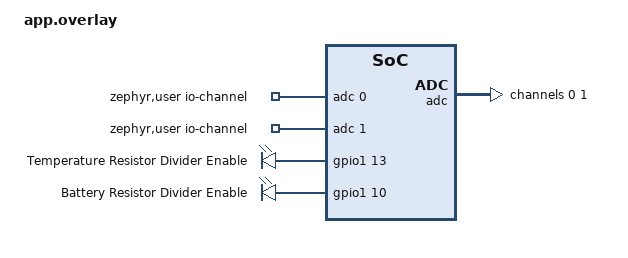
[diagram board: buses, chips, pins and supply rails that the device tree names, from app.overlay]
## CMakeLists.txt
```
cmake_minimum_required(VERSION 3.20.0)

# Add the app overlay file before including the zephyr package
list(APPEND DTC_OVERLAY_FILE app.overlay)

find_package(Zephyr REQUIRED HINTS $ENV{ZEPHYR_BASE})

project(lionk-nrf-temperature)

target_sources(app PRIVATE src/main.c src/ble.c src/lionk_adc.c)
```

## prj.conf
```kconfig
CONFIG_ASSERT=y

CONFIG_GPIO=y
CONFIG_HWINFO=y
CONFIG_ADC=y

CONFIG_LOG=n
CONFIG_SERIAL=n
CONFIG_CONSOLE=n
CONFIG_UART_ASYNC_API=n
CONFIG_LOG_BACKEND_UART=n
CONFIG_UART_CONSOLE=n
CONFIG_USE_SEGGER_RTT=n
CONFIG_NRFX_UARTE1=n

CONFIG_BT=y
CONFIG_BT_SMP=y
CONFIG_BT_SIGNING=y
CONFIG_BT_PERIPHERAL=y
CONFIG_BT_ATT_PREPARE_COUNT=5
CONFIG_BT_BAS=y
CONFIG_BT_PRIVACY=y
CONFIG_BT_DEVICE_APPEARANCE=833
CONFIG_BT_DEVICE_NAME="Lionk-Temp %llx"
CONFIG_BT_DEVICE_NAME_DYNAMIC=y
CONFIG_BT_DEVICE_NAME_MAX=65
CONFIG_BT_KEYS_OVERWRITE_OLDEST=y
CONFIG_BT_SETTINGS=y
CONFIG_SETTINGS=y

# Bluetooth Connection Parameters
CONFIG_BT_PERIPHERAL_PREF_MIN_INT=300
CONFIG_BT_PERIPHERAL_PREF_MAX_INT=320
CONFIG_BT_PERIPHERAL_PREF_LATENCY=5
CONFIG_BT_PERIPHERAL_PREF_TIMEOUT=500 
CONFIG_BT_GAP_AUTO_UPDATE_CONN_PARAMS=y

CONFIG_BT_USER_PHY_UPDATE=y

CONFIG_BT_CTLR_PHY_CODED=y

CONFIG_BT_USER_DATA_LEN_UPDATE=y
CONFIG_BT_CTLR_DATA_LENGTH_MAX=251
CONFIG_BT_BUF_ACL_RX_SIZE=502
CONFIG_BT_BUF_ACL_TX_SIZE=251
CONFIG_BT_L2CAP_TX_MTU=498

CONFIG_BT_GATT_CLIENT=y

CONFIG_BOOTLOADER_MCUBOOT=n
CONFIG_NCS_SAMPLE_MCUMGR_BT_OTA_DFU=n

# Power Management
CONFIG_PM_DEVICE=y
CONFIG_PM_DEVICE_RUNTIME=y
CONFIG_NRF_APPROTECT_LOCK=y

CONFIG_BOARD_ENABLE_DCDC=y

CONFIG_USB_DEVICE_STACK=n
CONFIG_USB_CDC_ACM=n
CONFIG_UART_CONSOLE=n
```

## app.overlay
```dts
/ {
	zephyr,user {
		io-channels = <&adc 0>, <&adc 1>;
	};

	aliases {
		resistordiven0 = &temp_resistor_div_en;
		resistordiven1 = &battery_resistor_div_en;
	};

	gpio_pins {
		compatible = "gpio-leds";
		temp_resistor_div_en: temp_resistor_div_en {
			gpios = <&gpio1 13 GPIO_ACTIVE_HIGH>;
			label = "Temperature Resistor Divider Enable";
		};
		battery_resistor_div_en: battery_resistor_div_en {
			gpios = <&gpio1 10 GPIO_ACTIVE_HIGH>;
			label = "Battery Resistor Divider Enable";
		};
	};
};

&adc {
	#address-cells = <1>;
	#size-cells = <0>;

	status = "okay";

	channel@0 {
		reg = <0>;
		zephyr,gain = "ADC_GAIN_1_6";
		zephyr,reference = "ADC_REF_INTERNAL";
		zephyr,acquisition-time = <ADC_ACQ_TIME_DEFAULT>;
		zephyr,input-positive = <NRF_SAADC_AIN5>; /* P0.29 */
		zephyr,resolution = <12>;
	};

	channel@1 {
		reg = <1>;
		zephyr,gain = "ADC_GAIN_1_6";
		zephyr,reference = "ADC_REF_INTERNAL";
		zephyr,acquisition-time = <ADC_ACQ_TIME_DEFAULT>;
		zephyr,input-positive = <NRF_SAADC_AIN7>; /* P0.31 */
		zephyr,resolution = <12>;
	};
};
```

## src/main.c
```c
#include "lionk_adc.h"
#include "sensor.h"
#include <stdint.h>
#include <zephyr/kernel.h>
#include <zephyr/drivers/gpio.h>
#include <zephyr/logging/log.h>
#include <zephyr/drivers/adc.h>

#include "ble.h"

LOG_MODULE_REGISTER(main, LOG_LEVEL_INF);

static void do_work(struct k_work *work);
static void timer_handler(struct k_timer *timer);
static void update_data(void);

K_WORK_DEFINE(update_data_work, do_work);
K_TIMER_DEFINE(work_timer, timer_handler, NULL);

sensor_data_t sensor_data;
static sensor_state_t state = DISCONNECTED;

static const struct gpio_dt_spec temp_resistor_div_en =
	GPIO_DT_SPEC_GET(DT_ALIAS(resistordiven0), gpios);
static const struct gpio_dt_spec battery_resistor_div_en =
	GPIO_DT_SPEC_GET(DT_ALIAS(resistordiven1), gpios);

static const struct adc_dt_spec temperature_spec =
	ADC_DT_SPEC_GET_BY_IDX(DT_PATH(zephyr_user), 0);

static const struct adc_dt_spec battery_spec =
	ADC_DT_SPEC_GET_BY_IDX(DT_PATH(zephyr_user), 1);

/**
 * @brief Updates sensor data by reading temperature and battery values
 * 
 * This function enables the resistor dividers, waits for voltage stabilization,
 * reads ADC values for temperature and battery, then disables the resistor
 * dividers to save power. The raw ADC values are converted to meaningful units.
 */
void update_data(void)
{
	gpio_pin_set_dt(&temp_resistor_div_en, 1);
	gpio_pin_set_dt(&battery_resistor_div_en, 0);

	k_msleep(10);

	uint16_t temp_read_mv = lionk_adc_do_read(&temperature_spec);
	uint16_t battery_read = lionk_adc_do_read(&battery_spec);

	gpio_pin_set_dt(&temp_resistor_div_en, 0);
	gpio_pin_set_dt(&battery_resistor_div_en, 1);

	sensor_data.temperature = temp_read_mv - 500;
	sensor_data.battery_mv = battery_read * 4;
}

/**
 * @brief Main work function that handles sensor updates and BLE state management
 * 
 * This function is called periodically by the timer. It updates sensor data,
 * logs the values, and manages the BLE connection state machine (disconnected,
 * advertising, connected). When connected and subscribed, it sends sensor data.
 * 
 * @param work Pointer to the work structure (unused)
 */
void do_work(struct k_work *work)
{
	(void)work;
	update_data();
	LOG_INF("Temperature: %d, battery %d", sensor_data.temperature,
		sensor_data.battery_mv);
	switch (state) {
	case DISCONNECTED:
		ble_start_advertising();
		state = ADVERTISING;
		LOG_INF("Advertising");
		break;

	case ADVERTISING:
		if (ble_is_connected()) {
			state = CONNECTED;
			LOG_INF("Connected!");
		}
		break;
	case CONNECTED:
		if (!ble_is_connected()) {
			LOG_INF("Disconnected");
			state = DISCONNECTED;
		}

		if (ble_is_subscribed()) {
			const int ret = ble_send_data();
			if (ret) {
				LOG_ERR("Couldn't send data (%d)", ret);
			}
		}
		break;
	}
}

/**
 * @brief Timer callback function that submits work to the system work queue
 * 
 * This function is called every second by the timer and submits the sensor
 * update work to be processed by the system work queue.
 * 
 * @param timer Pointer to the timer structure (unused)
 */
void timer_handler(struct k_timer *timer)
{
	k_work_submit(&update_data_work);
}

/**
 * @brief Configures flash protection settings for the nRF device
 * 
 * This function enables or disables flash protection (APPROTECT) based on the
 * ENABLE_APPROTECT configuration. It modifies the UICR (User Information 
 * Configuration Registers) and performs a system reset if changes are made.
 * This protects the flash memory from unauthorized access.
 */
static void nrf_bootloader_debug_port_disable(void)
{
#ifdef ENABLE_APPROTECT
	if ((NRF_UICR->APPROTECT & UICR_APPROTECT_PALL_Msk) !=
	    (UICR_APPROTECT_PALL_Enabled << UICR_APPROTECT_PALL_Pos)) {
		LOG_INF("Flash Protection not enabled. Enabling and resetting the device");
		NRF_NVMC->CONFIG = NVMC_CONFIG_WEN_Wen;
		while (NRF_NVMC->READY == NVMC_READY_READY_Busy)
			;
		NRF_UICR->APPROTECT = ((NRF_UICR->APPROTECT &
					~((uint32_t)UICR_APPROTECT_PALL_Msk)) |
				       (UICR_APPROTECT_PALL_Enabled
					<< UICR_APPROTECT_PALL_Pos));

		NRF_NVMC->CONFIG = NVMC_CONFIG_WEN_Ren;
		while (NRF_NVMC->READY == NVMC_READY_READY_Busy)
			;
		NVIC_SystemReset();
	}
#else
	if ((NRF_UICR->APPROTECT & UICR_APPROTECT_PALL_Msk) !=
	    (UICR_APPROTECT_PALL_HwDisabled << UICR_APPROTECT_PALL_Pos)) {
		NRF_NVMC->CONFIG = NVMC_CONFIG_WEN_Wen;
		while (NRF_NVMC->READY == NVMC_READY_READY_Busy)
			;

		NRF_UICR->APPROTECT = ((NRF_UICR->APPROTECT &
					~((uint32_t)UICR_APPROTECT_PALL_Msk)) |
				       (UICR_APPROTECT_PALL_HwDisabled
					<< UICR_APPROTECT_PALL_Pos));

		NRF_NVMC->CONFIG = NVMC_CONFIG_WEN_Ren;
		while (NRF_NVMC->READY == NVMC_READY_READY_Busy)
			;
	}
#endif
}

/**
 * @brief Main application entry point
 * 
 * This function initializes the system by:
 * - Configuring flash protection settings
 * - Setting up GPIO pins for resistor divider control
 * - Initializing BLE functionality
 * - Configuring ADC channels for temperature and battery monitoring
 * - Starting a periodic timer for sensor updates
 * - Entering an infinite sleep state (work is handled by interrupts)
 * 
 * @return Should never return; exits with error code if initialization fails
 */
int main(void)
{
	int ret;

	nrf_bootloader_debug_port_disable();

	if (!gpio_is_ready_dt(&temp_resistor_div_en)) {
		LOG_ERR("GPIO device %s is not ready",
			temp_resistor_div_en.port->name);
		return -1;
	}
	if (!gpio_is_ready_dt(&battery_resistor_div_en)) {
		LOG_ERR("GPIO device %s is not ready",
			battery_resistor_div_en.port->name);
		return -1;
	}

	ret = gpio_pin_configure_dt(&temp_resistor_div_en,
				    GPIO_OUTPUT_INACTIVE);
	if (ret < 0) {
		LOG_ERR("Cannot configure GPIO pin for temperature resistor divider");
		return -1;
	}

	ret = gpio_pin_configure_dt(&battery_resistor_div_en,
				    GPIO_OUTPUT_INACTIVE);
	if (ret < 0) {
		LOG_ERR("Cannot configure GPIO pin for battery resistor divider");
		return -1;
	}

	LOG_INF("GPIO pins configured for resistor divider control");

	ble_setup();
	lionk_adc_setup(&temperature_spec);
	lionk_adc_setup(&battery_spec);
	k_timer_start(&work_timer, K_SECONDS(1), K_SECONDS(1));
	k_sleep(K_FOREVER);
}
```

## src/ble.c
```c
#include "ble.h"
#include "sensor.h"
#include <zephyr/bluetooth/bluetooth.h>
#include <zephyr/bluetooth/gap.h>
#include <zephyr/bluetooth/hci.h>
#include <zephyr/bluetooth/conn.h>
#include <zephyr/bluetooth/uuid.h>
#include <zephyr/bluetooth/gatt.h>
#include <zephyr/bluetooth/services/bas.h>
#include <zephyr/logging/log.h>
#include <zephyr/drivers/hwinfo.h>
#include <zephyr/settings/settings.h>
#include "version.h"

LOG_MODULE_REGISTER(ble, LOG_LEVEL_INF);

static bool subscribed = false;

static ssize_t read_version(struct bt_conn *conn,
			    const struct bt_gatt_attr *attr, void *buf,
			    uint16_t len, uint16_t offset);

static ssize_t read_attribute(struct bt_conn *conn,
			      const struct bt_gatt_attr *attr, void *buf,
			      uint16_t len, uint16_t offset);

static void notification_ccc_changed(const struct bt_gatt_attr *attr,
				     uint16_t value);

static char device_name[CONFIG_BT_DEVICE_NAME_MAX];

static const struct bt_data ad[] = {
	BT_DATA_BYTES(BT_DATA_FLAGS, (BT_LE_AD_GENERAL | BT_LE_AD_NO_BREDR)),
	BT_DATA(BT_DATA_NAME_COMPLETE, device_name, sizeof(device_name))
};
static struct bt_le_adv_param *adv_param = BT_LE_ADV_PARAM(
	(BT_LE_ADV_OPT_CONNECTABLE | BT_LE_ADV_OPT_USE_IDENTITY), 800, 16384,
	NULL);

static struct bt_conn *current_connection = NULL;
static struct bt_gatt_exchange_params exchange_params;

BT_GATT_SERVICE_DEFINE(battery_svc,
		       BT_GATT_PRIMARY_SERVICE(BT_UUID_BATTERY_SVC),
		       BT_GATT_CHARACTERISTIC(BT_UUID_BATTERY,
					      BT_GATT_CHRC_READ,
					      BT_GATT_PERM_READ, read_attribute,
					      NULL, &sensor_data.battery_mv));

BT_GATT_SERVICE_DEFINE(temperature_svc,
		       BT_GATT_PRIMARY_SERVICE(BT_UUID_TEMPERATURE_SVC),
		       BT_GATT_CHARACTERISTIC(BT_UUID_TEMPERATURE,
					      BT_GATT_CHRC_READ,
					      BT_GATT_PERM_READ, read_attribute,
					      NULL, &sensor_data.temperature));

BT_GATT_SERVICE_DEFINE(data_svc, BT_GATT_PRIMARY_SERVICE(BT_UUID_DATA_SVC),
		       BT_GATT_CHARACTERISTIC(BT_UUID_DATA, BT_GATT_CHRC_NOTIFY,
					      BT_GATT_PERM_NONE, NULL, NULL,
					      NULL),
		       BT_GATT_CCC(notification_ccc_changed,
				   BT_GATT_PERM_READ | BT_GATT_PERM_WRITE), );

BT_GATT_SERVICE_DEFINE(
	version_svc, BT_GATT_PRIMARY_SERVICE(BT_UUID_VERSION_SVC),
	BT_GATT_CHARACTERISTIC(BT_UUID_VERSION, BT_GATT_CHRC_READ,
			       BT_GATT_PERM_READ, read_version, NULL, NULL));

typedef union {
	uint64_t id;
	uint8_t buffer[sizeof(uint64_t)];
} id_union_t;

/**
 * @brief Reads the firmware version string for BLE GATT characteristic
 * 
 * This function is called when a BLE client reads the version characteristic.
 * It returns the firmware version string defined in version.h.
 * 
 * @param conn BLE connection handle
 * @param attr GATT attribute being read
 * @param buf Buffer to store the response
 * @param len Maximum length of the response
 * @param offset Offset for partial reads
 * @return Number of bytes written to the buffer
 */
static ssize_t read_version(struct bt_conn *conn,
			    const struct bt_gatt_attr *attr, void *buf,
			    uint16_t len, uint16_t offset)
{
	return bt_gatt_attr_read(conn, attr, buf, len, offset, VERSION,
				 strlen(VERSION));
}

/**
 * @brief Reads sensor data attributes for BLE GATT characteristics
 * 
 * This function is called when a BLE client reads temperature or battery
 * characteristics. It returns the current sensor values from the global
 * sensor_data structure.
 * 
 * @param conn BLE connection handle
 * @param attr GATT attribute being read
 * @param buf Buffer to store the response
 * @param len Maximum length of the response
 * @param offset Offset for partial reads
 * @return Number of bytes written to the buffer
 */
static ssize_t read_attribute(struct bt_conn *conn,
			      const struct bt_gatt_attr *attr, void *buf,
			      uint16_t len, uint16_t offset)
{
	const uint16_t *value = (uint16_t *)attr->user_data;

	return bt_gatt_attr_read(conn, attr, buf, len, offset, value,
				 sizeof(*value));
}

/**
 * @brief Handles changes to the Client Characteristic Configuration (CCC)
 * 
 * This callback is triggered when a BLE client enables or disables notifications
 * for the data characteristic. It updates the global subscription state.
 * 
 * @param attr GATT attribute that was modified
 * @param value New CCC value (BT_GATT_CCC_NOTIFY if notifications enabled)
 */
static void notification_ccc_changed(const struct bt_gatt_attr *attr,
				     uint16_t value)
{
	subscribed = value == BT_GATT_CCC_NOTIFY;
	LOG_INF("Notifications %s", subscribed ? "enabled" : "disabled");
}

/**
 * @brief Updates the BLE PHY (Physical Layer) to coded PHY for extended range
 * 
 * This function requests a change to the BLE connection's PHY to use coded PHY,
 * which provides better range at the cost of data rate. This is useful for
 * IoT applications requiring extended communication distance.
 * 
 * @param conn BLE connection handle to update
 */
static void update_phy(struct bt_conn *conn)
{
	int err;
	const struct bt_conn_le_phy_param phy = {
		.options = BT_CONN_LE_PHY_OPT_NONE,
		.pref_rx_phy = BT_GAP_LE_PHY_CODED,
		.pref_tx_phy = BT_GAP_LE_PHY_CODED,
	};
	err = bt_conn_le_phy_update(conn, &phy);
	if (err) {
		LOG_ERR("Couldn't set phy settings (err %d)", err);
	}
}

/**
 * @brief Updates the BLE data length extension parameters
 * 
 * This function sets the maximum data length extension parameters to allow
 * larger packet sizes, which can improve throughput efficiency by reducing
 * the overhead of multiple small packets.
 * 
 * @param conn BLE connection handle to update
 */
static void update_data_length(struct bt_conn *conn)
{
	int err;
	struct bt_conn_le_data_len_param my_data_len = {
		.tx_max_len = BT_GAP_DATA_LEN_MAX,
		.tx_max_time = BT_GAP_DATA_TIME_MAX,
	};
	err = bt_conn_le_data_len_update(conn, &my_data_len);
	if (err) {
		LOG_ERR("data_len_update failed (err %d)", err);
	}
}

/**
 * @brief Callback function for MTU exchange completion
 * 
 * This function is called when the MTU (Maximum Transmission Unit) exchange
 * procedure completes. It logs the result and the new MTU size if successful.
 * 
 * @param conn BLE connection handle
 * @param att_err ATT error code (0 if successful)
 * @param params Exchange parameters structure
 */
static void exchange_func(struct bt_conn *conn, uint8_t att_err,
			  struct bt_gatt_exchange_params *params)
{
	LOG_INF("MTU exchange %s", att_err == 0 ? "successful" : "failed");
	if (!att_err) {
		uint16_t payload_mtu = bt_gatt_get_mtu(conn) -
				       3; // 3 bytes used for Attribute headers.
		LOG_INF("New MTU: %d bytes", payload_mtu);
	}
}

/**
 * @brief Initiates MTU exchange procedure with the connected device
 * 
 * This function starts the MTU exchange to negotiate the largest possible
 * packet size that both devices can support, which helps optimize data
 * transmission efficiency.
 * 
 * @param conn BLE connection handle
 */
static void update_mtu(struct bt_conn *conn)
{
	int err;
	exchange_params.func = exchange_func;

	err = bt_gatt_exchange_mtu(conn, &exchange_params);
	if (err) {
		LOG_ERR("bt_gatt_exchange_mtu failed (err %d)", err);
	}
}

/**
 * @brief Callback function called when a BLE connection is established
 * 
 * This function is invoked when a BLE central device successfully connects
 * to this peripheral. It logs connection details, stores the connection
 * reference, and initiates optimization procedures (PHY update, data length
 * extension, and MTU exchange) for better performance.
 * 
 * @param conn BLE connection handle
 * @param err Error code (0 if connection successful)
 */
static void connected(struct bt_conn *conn, uint8_t err)
{
	if (err) {
		LOG_ERR("Connection failed (err 0x%02x)", err);
		return;
	}
	char addr[BT_ADDR_LE_STR_LEN];
	struct bt_conn_info info;
	bt_conn_get_info(conn, &info);
	current_connection = bt_conn_ref(conn);
	bt_addr_le_to_str(bt_conn_get_dst(conn), addr, sizeof(addr));
	double connection_interval = info.le.interval * 1.25;
	uint16_t supervision_timeout = info.le.timeout * 10;

	LOG_INF("Connected to %s, interval %.2f ms, latency %d intervals, timeout %d ms",
		addr, connection_interval, info.le.latency,
		supervision_timeout);

	update_phy(conn);
	update_data_length(conn);
	update_mtu(conn);
}

/**
 * @brief Callback function called when a BLE connection is terminated
 * 
 * This function is invoked when the BLE connection is disconnected, either
 * by the central device or due to connection timeout/error. It cleans up
 * the connection reference and logs the disconnection reason.
 * 
 * @param conn BLE connection handle that was disconnected
 * @param reason Disconnection reason code as defined by Bluetooth spec
 */
static void disconnected(struct bt_conn *conn, uint8_t reason)
{
	bt_conn_unref(conn);
	current_connection = NULL;
	LOG_INF("Disconnected (reason 0x%02x)", reason);
}

/**
 * @brief Callback function called when BLE connection parameters are updated
 * 
 * This function is invoked when the connection interval, latency, or supervision
 * timeout parameters are changed during an active BLE connection. It logs the
 * new parameter values for debugging and monitoring purposes.
 * 
 * @param conn BLE connection handle
 * @param interval Connection interval in 1.25ms units
 * @param latency Slave latency (number of intervals that can be skipped)
 * @param timeout Supervision timeout in 10ms units
 */
static void le_param_updated(struct bt_conn *conn, uint16_t interval,
			     uint16_t latency, uint16_t timeout)
{
	LOG_INF("Connection parameters updated: interval %.2f ms, latency %d, timeout %d ms",
		interval * 1.25, latency, timeout * 10);
}

/**
 * @brief Callback function called when BLE PHY update procedure completes
 * 
 * This function is invoked after a PHY update request completes, indicating
 * whether the physical layer was successfully changed (e.g., to coded PHY
 * for long range). It logs the new PHY configuration.
 * 
 * @param conn BLE connection handle
 * @param param Structure containing the new PHY information
 */
static void le_phy_updated(struct bt_conn *conn,
			   struct bt_conn_le_phy_info *param)
{
	// PHY Updated
	if (param->tx_phy == BT_CONN_LE_TX_POWER_PHY_1M) {
		LOG_INF("PHY updated. New PHY: 1M");
	} else if (param->tx_phy == BT_CONN_LE_TX_POWER_PHY_2M) {
		LOG_INF("PHY updated. New PHY: 2M");
	} else if (param->tx_phy == BT_CONN_LE_TX_POWER_PHY_CODED_S8) {
		LOG_INF("PHY updated. New PHY: Long Range");
	}
}

/**
 * @brief Callback function called when BLE data length extension is updated
 * 
 * This function is invoked when the data length extension parameters are
 * changed, which affects the maximum packet size that can be transmitted
 * in a single connection event. Larger packets improve throughput efficiency.
 * 
 * @param conn BLE connection handle
 * @param info Structure containing the new data length parameters
 */
static void le_data_len_updated(struct bt_conn *conn,
				struct bt_conn_le_data_len_info *info)
{
	uint16_t tx_len = info->tx_max_len;
	uint16_t tx_time = info->tx_max_time;
	uint16_t rx_len = info->rx_max_len;
	uint16_t rx_time = info->rx_max_time;
	LOG_INF("Data length updated. Length %d/%d bytes, time %d/%d us",
		tx_len, rx_len, tx_time, rx_time);
}

/**
 * @brief Initializes the BLE subsystem and configures device settings
 * 
 * This function sets up the BLE stack by:
 * - Retrieving unique device ID from hardware
 * - Generating device name with device ID suffix
 * - Enabling Bluetooth with default configuration
 * - Loading stored settings from flash
 * - Setting the device name for advertising
 * 
 * This must be called before any other BLE operations.
 */
void ble_setup(void)
{
	id_union_t device_id;
	ssize_t device_id_len = hwinfo_get_device_id(device_id.buffer,
						     sizeof(device_id.buffer));

	__ASSERT(device_id_len >= 0, "Couldn't get device id len (%d)",
		 device_id_len);

	sprintf(device_name, CONFIG_BT_DEVICE_NAME, device_id.id);
	int err = bt_enable(NULL);
	settings_load();
	__ASSERT(err == 0, "Couldn't enable bluetooth");

	bt_set_name(device_name);

	LOG_INF("Device ID: %llx", device_id.id);
	LOG_INF("Device Name: %s", device_name);
	LOG_INF("Bluetooth initialized");
}

/**
 * @brief Starts BLE advertising to make device discoverable
 * 
 * This function begins broadcasting advertising packets containing the device
 * name and service flags. Central devices can discover and connect to this
 * peripheral while advertising is active.
 * 
 * @return 0 on success, negative error code on failure
 */
int ble_start_advertising(void)
{
	return bt_le_adv_start(adv_param, ad, ARRAY_SIZE(ad), NULL, 0);
}

/**
 * @brief Stops BLE advertising to make device non-discoverable
 * 
 * This function stops broadcasting advertising packets, making the device
 * no longer discoverable by central devices. Existing connections remain
 * active.
 * 
 * @return 0 on success, negative error code on failure
 */
int ble_stop_advertising(void)
{
	return bt_le_adv_stop();
}

/**
 * @brief Serializes sensor data into a byte buffer for BLE transmission
 * 
 * This function packages the temperature and battery voltage readings into
 * a compact 5-byte buffer format:
 * - Byte 0: Reserved (always 0)
 * - Bytes 1-2: Temperature value (big-endian uint16)
 * - Bytes 3-4: Battery voltage in mV (big-endian uint16)
 * 
 * @param data Pointer to sensor data structure
 * @param buf Output buffer to store serialized data
 * @param len Length of output buffer (must be >= 5 bytes)
 * @return true if serialization successful, false if buffer too small
 */
static bool build_sensor_data_buffer(const sensor_data_t *data, uint8_t *buf,
				     uint16_t len)
{
	if (len < 5) {
		return false;
	}

	buf[0] = 0;
	buf[1] = (data->temperature & 0xFF00) >> 8;
	buf[2] = (data->temperature & 0xFF);
	buf[3] = (data->battery_mv & 0xFF00) >> 8;
	buf[4] = (data->battery_mv & 0xFF);
	return true;
}

/**
 * @brief Callback function called when BLE security level changes
 * 
 * This function is invoked when the security level of a BLE connection
 * changes due to pairing, bonding, or authentication procedures. It logs
 * the security status and level for debugging purposes.
 * 
 * @param conn BLE connection handle
 * @param level New security level achieved
 * @param err Security error code (0 if successful)
 */
static void security_changed(struct bt_conn *conn, bt_security_t level,
			     enum bt_security_err err)
{
	char addr[BT_ADDR_LE_STR_LEN];

	bt_addr_le_to_str(bt_conn_get_dst(conn), addr, sizeof(addr));

	if (!err) {
		LOG_INF("Security changed: %s level %u", addr, level);
	} else {
		LOG_ERR("Security failed: %s level %u err %d", addr, level,
			err);
	}
}

BT_CONN_CB_DEFINE(conn_callbacks) = {
	.connected = connected,
	.disconnected = disconnected,
	.le_param_updated = le_param_updated,
	.le_phy_updated = le_phy_updated,
	.le_data_len_updated = le_data_len_updated,
	.security_changed = security_changed,
};

/**
 * @brief Checks if a BLE client has subscribed to data notifications
 * 
 * This function returns the current subscription status for the data
 * characteristic. Data notifications are only sent when a client has
 * enabled them by writing to the Client Characteristic Configuration.
 * 
 * @return true if notifications are enabled, false otherwise
 */
bool ble_is_subscribed(void)
{
	return subscribed;
}

/**
 * @brief Sends current sensor data via BLE notification
 * 
 * This function transmits the current temperature and battery readings
 * to a connected BLE client using GATT notifications. The data is only
 * sent if a client is connected and has subscribed to notifications.
 * 
 * @return 0 on success, -EACCES if not subscribed, or other negative error code
 */
int ble_send_data(void)
{
	if (!subscribed) {
		return -EACCES;
	}
	uint8_t buffer[5];

	build_sensor_data_buffer(&sensor_data, buffer, sizeof(buffer));
	return bt_gatt_notify(current_connection,
			      &data_svc.attrs[data_svc.attr_count - 2], buffer,
			      sizeof(buffer));
}

/**
 * @brief Checks if a BLE connection is currently active
 * 
 * This function returns the current BLE connection status by checking
 * if there is an active connection reference stored. This can be used
 * to determine if sensor data transmission is possible.
 * 
 * @return true if connected to a BLE central device, false otherwise
 */
bool ble_is_connected(void)
{
	return current_connection != NULL;
}
```

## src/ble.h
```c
#include <stdbool.h>
#include <zephyr/bluetooth/uuid.h>

#ifndef BLE_H

#define BLE_H

#define BT_UUID_TEMPERATURE_SVC_VAL \
	BT_UUID_128_ENCODE(0x00000001, 0x7669, 0x6163, 0x616d, 0x2d63616c6563)

#define BT_UUID_BATTERY_SVC_VAL \
	BT_UUID_128_ENCODE(0x00000003, 0x7669, 0x6163, 0x616d, 0x2d63616c6563)

#define BT_UUID_BATTERY_VAL \
	BT_UUID_128_ENCODE(0x00000005, 0x7669, 0x6163, 0x616d, 0x2d63616c6563)

#define BT_UUID_VERSION_SVC_VAL \
	BT_UUID_128_ENCODE(0x00000005, 0x7669, 0x6163, 0x616d, 0x2d63616c6563)

#define BT_UUID_VERSION_VAL \
	BT_UUID_128_ENCODE(0x00000006, 0x7669, 0x6163, 0x616d, 0x2d63616c6563)

#define BT_UUID_DATA_SVC_VAL \
	BT_UUID_128_ENCODE(0x00000007, 0x7669, 0x6163, 0x616d, 0x2d63616c6563)

#define BT_UUID_DATA_VAL \
	BT_UUID_128_ENCODE(0x00000008, 0x7669, 0x6163, 0x616d, 0x2d63616c6563)

#define BT_UUID_DATA_CCC_VAL \
	BT_UUID_128_ENCODE(0x00000009, 0x7669, 0x6163, 0x616d, 0x2d63616c6563)

#define BT_UUID_BATTERY_SVC	BT_UUID_DECLARE_128(BT_UUID_BATTERY_SVC_VAL)
#define BT_UUID_BATTERY		BT_UUID_DECLARE_128(BT_UUID_BATTERY_VAL)
#define BT_UUID_TEMPERATURE_SVC BT_UUID_DECLARE_128(BT_UUID_TEMPERATURE_SVC_VAL)
#define BT_UUID_DATA_SVC	BT_UUID_DECLARE_128(BT_UUID_DATA_SVC_VAL)
#define BT_UUID_DATA		BT_UUID_DECLARE_128(BT_UUID_DATA_VAL)
#define BT_UUID_DATA_CCC	BT_UUID_DECLARE_128(BT_UUID_DATA_CCC_VAL)
#define BT_UUID_VERSION_SVC	BT_UUID_DECLARE_128(BT_UUID_VERSION_SVC_VAL)
#define BT_UUID_VERSION		BT_UUID_DECLARE_128(BT_UUID_VERSION_VAL)

/**
 * @brief Initializes the BLE subsystem and configures device settings
 * 
 * This function sets up the BLE stack by:
 * - Retrieving unique device ID from hardware
 * - Generating device name with device ID suffix
 * - Enabling Bluetooth with default configuration
 * - Loading stored settings from flash
 * - Setting the device name for advertising
 * 
 * This must be called before any other BLE operations.
 */
void ble_setup(void);

/**
 * @brief Starts BLE advertising to make device discoverable
 * 
 * This function begins broadcasting advertising packets containing the device
 * name and service flags. Central devices can discover and connect to this
 * peripheral while advertising is active.
 * 
 * @return 0 on success, negative error code on failure
 */
int ble_start_advertising(void);

/**
 * @brief Stops BLE advertising to make device non-discoverable
 * 
 * This function stops broadcasting advertising packets, making the device
 * no longer discoverable by central devices. Existing connections remain
 * active.
 * 
 * @return 0 on success, negative error code on failure
 */
int ble_stop_advertising(void);

/**
 * @brief Sends current sensor data via BLE notification
 * 
 * This function transmits the current temperature and battery readings
 * to a connected BLE client using GATT notifications. The data is only
 * sent if a client is connected and has subscribed to notifications.
 * 
 * @return 0 on success, -EACCES if not subscribed, or other negative error code
 */
int ble_send_data(void);

/**
 * @brief Checks if a BLE connection is currently active
 * 
 * This function returns the current BLE connection status by checking
 * if there is an active connection reference stored. This can be used
 * to determine if sensor data transmission is possible.
 * 
 * @return true if connected to a BLE central device, false otherwise
 */
bool ble_is_connected(void);

/**
 * @brief Checks if a BLE client has subscribed to data notifications
 * 
 * This function returns the current subscription status for the data
 * characteristic. Data notifications are only sent when a client has
 * enabled them by writing to the Client Characteristic Configuration.
 * 
 * @return true if notifications are enabled, false otherwise
 */
bool ble_is_subscribed(void);
#endif
```

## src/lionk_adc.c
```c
#include "lionk_adc.h"
#include <zephyr/logging/log.h>

LOG_MODULE_REGISTER(lionk_adc, LOG_LEVEL_INF);

/**
 * @brief Set up an ADC channel for reading
 * 
 * Configures the specified ADC channel based on the device tree specification.
 * This function must be called before attempting to read from the channel.
 * If setup fails, the function will assert and halt execution.
 * 
 * @param spec Pointer to ADC device tree specification containing channel configuration
 */
void lionk_adc_setup(const struct adc_dt_spec *spec)
{
	int err = adc_channel_setup_dt(spec);
	if (err < 0) {
		__ASSERT(0, "Couldn't setup ADC channel (%d)", err);
	}
	LOG_INF("ADC channel %d setup on %s", spec->channel_id,
		spec->dev->name);
}

/**
 * @brief Perform a single ADC reading and convert to millivolts
 * 
 * Reads a raw value from the specified ADC channel and converts it to millivolts.
 * The function handles both differential and single-ended channel configurations.
 * If the read operation fails, the function returns 0 and logs a warning.
 * 
 * @param spec Pointer to ADC device tree specification for the channel to read
 * @return int Voltage reading in millivolts, or 0 if read failed
 */
int lionk_adc_do_read(const struct adc_dt_spec *spec)
{
	uint16_t buf;
	int val_mv;
	struct adc_sequence sequence = {
		.buffer = &buf,
		/* buffer size in bytes, not number of samples */
		.buffer_size = sizeof(buf),
	};
	int err = adc_sequence_init_dt(spec, &sequence);
	if (err < 0) {
		LOG_ERR("Couldn't initialise read sequence from ADC %s\n",
			spec->dev->name);
		return 0;
	}

	err = adc_read_dt(spec, &sequence);
	if (err < 0) {
		LOG_WRN("Couldn't read from ADC %s\n", spec->dev->name);
		return 0;
	}

	if (spec->channel_cfg.differential) {
		val_mv = (int32_t)((int16_t)buf);
	} else {
		val_mv = (int32_t)buf;
	}
	err = adc_raw_to_millivolts_dt(spec, &val_mv);
	/* conversion to mV may not be supported, skip if not */
	if (err < 0) {
		LOG_INF("Can't Get value in mV\n");
	}
	return val_mv;
}
```

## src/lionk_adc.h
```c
#ifndef LIONK_ADC_H
#define LIONK_ADC_H

#include <zephyr/drivers/adc.h>

/**
 * @brief Set up an ADC channel for reading
 * 
 * Configures the specified ADC channel based on the device tree specification.
 * This function must be called before attempting to read from the channel.
 * If setup fails, the function will assert and halt execution.
 * 
 * @param spec Pointer to ADC device tree specification containing channel configuration
 */
void lionk_adc_setup(const struct adc_dt_spec *spec);

/**
 * @brief Perform a single ADC reading and convert to millivolts
 * 
 * Reads a raw value from the specified ADC channel and converts it to millivolts.
 * The function handles both differential and single-ended channel configurations.
 * If the read operation fails, the function returns 0 and logs a warning.
 * 
 * @param spec Pointer to ADC device tree specification for the channel to read
 * @return int Voltage reading in millivolts, or 0 if read failed
 */
int lionk_adc_do_read(const struct adc_dt_spec *spec);

#endif
```

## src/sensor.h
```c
#ifndef SENSOR_H
#define SENSOR_H
#include <stdint.h>
#include <stdbool.h>

typedef struct {
	uint16_t battery_mv; // Battery level in mv
	uint16_t temperature; // Divide by 100 to get the temperature in °C
} sensor_data_t;
typedef enum {
	DISCONNECTED,
	ADVERTISING,
	CONNECTED,
} sensor_state_t;

extern sensor_data_t sensor_data;

#endif
```

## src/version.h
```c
#include <zephyr/toolchain.h>
#ifndef VERSION_H
#define VERSION_H

#define VERSION_MAJOR 1
#define VERSION_MINOR 0
#define VERSION_PATCH 1

#define TOSTRING(x)   STRINGIFY(x)

#define VERSION                 \
	TOSTRING(VERSION_MAJOR) \
	"." TOSTRING(VERSION_MINOR) "." TOSTRING(VERSION_PATCH)

#endif
```
